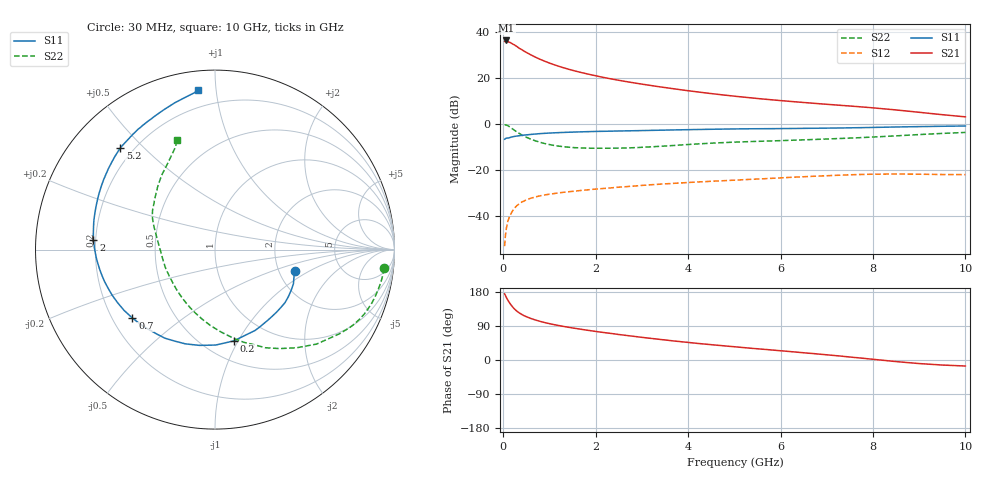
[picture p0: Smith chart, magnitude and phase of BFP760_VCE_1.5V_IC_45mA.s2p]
! Infineon Technologies  Discrete & RF Semiconductors
! BFP760
! VCE =  1.5 V,  IC =  45 mA
! Common Emitter S-Parameters:  Nov 2012
# GHz  S  MA  R  50
!  f  S11  S21  S12  S22
! GHz  MAG  ANG  MAG  ANG  MAG  ANG  MAG  ANG
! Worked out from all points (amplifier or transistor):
!   99 points, 30 MHz to 10 GHz, reference 50 ohm
!   highest |S21| = 36.1 dB at 70 MHz (marker M1)
!   |S21| within 3 dB of that: start of sweep to 320.1 MHz
!   unconditionally stable (mu >= 1): 3.563 GHz to end of sweep
!   at 350 MHz: K = 0.34, MSG = 33.7 dB, |S12| = -34.8 dB
!   at 3.5 GHz: K = 0.99, MSG = 20.9 dB, |S12| = -26.1 dB
!   at 10 GHz: K = 1.08, MAG = 10.8 dB, |S12| = -22.1 dB
!   S11 on the Smith chart (normalised r, x): 30 MHz: 2.45, -0.74; 200 MHz: 0.69, -0.96; 700 MHz: 0.28, -0.34; 2 GHz: 0.19, +0.04; 5.2 GHz: 0.15, +0.43; 10 GHz: 0.10, +0.90
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0.03  0.4606 -14.9  60.99 174.5  0.0022 80.0  0.9468 -6.3
0.05  0.4766 -23.5  63.65 169.6  0.004 82.7  0.9417 -11.3
0.07  0.4858 -32.9  64.03 164.5  0.0056 72.8  0.9297 -16.4
0.1  0.4889 -45.7  61.17 157.8  0.0077 74.4  0.9053 -23.5
0.15  0.5028 -63.7  57.85 148.5  0.0103 69.4  0.8378 -34.0
0.2  0.5194 -78.4  53.88 140.4  0.0127 63.4  0.7732 -42.9
0.25  0.5318 -89.6  50.68 133.9  0.0149 60.4  0.711 -50.3
0.3  0.5405 -99.1  46.92 128.4  0.0169 56.3  0.659 -56.8
0.35  0.5504 -107.4  43.07 124.0  0.0183 53.8  0.6148 -62.8
0.45  0.5671 -119.5  37.54 117.0  0.021 50.0  0.5411 -72.7
0.6  0.5854 -133.1  31.13 109.5  0.0242 45.6  0.4604 -85.8
0.7  0.5977 -140.3  27.68 105.4  0.0258 43.1  0.4236 -93.5
0.9  0.6182 -151.5  22.64 98.7  0.0285 40.3  0.3703 -107.1
1.1  0.6333 -160.2  19.05 93.3  0.0305 38.3  0.3374 -118.7
1.7  0.6664 -178.1  12.82 80.8  0.0358 36.4  0.2964 -145.1
2  0.6796 175.3  10.98 75.4  0.0381 35.9  0.2936 -155.3
3.4  0.7227 151.9  6.288 54.2  0.0488 34.0  0.3235 171.2
5.1  0.7715 133.6  3.867 33.9  0.0602 30.3  0.4015 150.4
5.2  0.7736 132.9  3.779 32.8  0.061 30.0  0.4046 149.5
6.7  0.7962 122.4  2.783 17.1  0.0722 25.1  0.4537 136.4
8.5  0.8486 105.2  1.988 -4.2  0.081 13.6  0.5446 119.3
10  0.8916 96.0  1.409 -15.9  0.0787 8.6  0.6463 109.3
